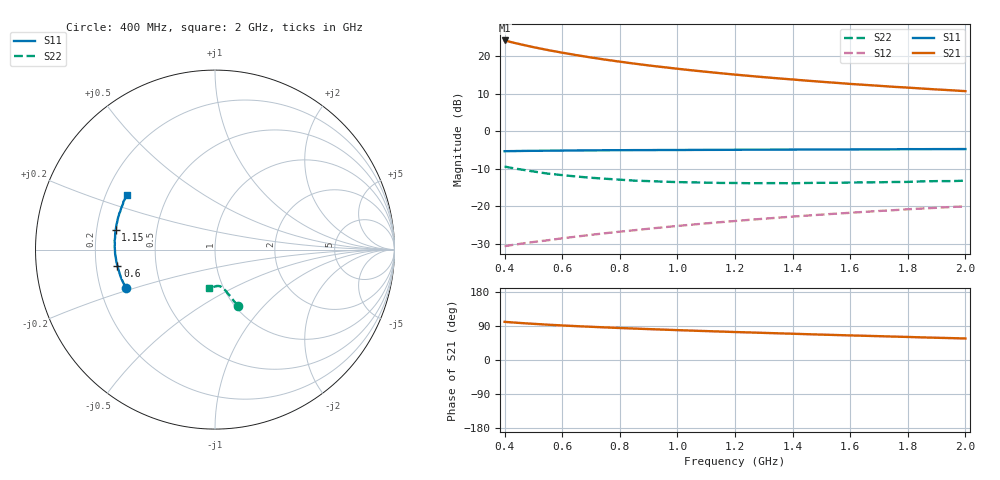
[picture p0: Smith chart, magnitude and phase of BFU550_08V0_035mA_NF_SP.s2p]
! Filename:  P:\Prog\Test\Noise\ATS_data\Testdata_Net\06 Compressed Noise after Statistics\BFU550_APG2013_43_D05_08p0V_035mA_NF_CM01_D.sf
! Date/Time: Fri 26/Apr/2013 13:07:24
! BFU550_APG2013_43_D05_08p0V_1to35mA_NF_CM01_Bias8_R.sf
! Noise Parameter Data File
! BFU550_APG2013_43_D05_08p0V_1to35mA_NF_CM01
! Date/time: Thu Apr 25 17:34:01 2013
! VAR V_out= 8.000000
! VAR I_out= 35.000000
! VAR V_in= 0.794900
! VAR I_in= 0.368450
! Device data file deembeded for feedlines and parallel
! Original file: \06 Compressed Noise after Statistics\BFU550_APG2013_43_D05_08p0V_035mA_NF_CM01_R.sf
! Feed-files: PR047V01_250413_Feed1.s2p, PR047V01_250413_Feed2.s2p
! Parallel-file: PR047V01_250413_Par.s2p
# MHz S MA R 50
!  Freq-MHz  S11-mag  S11-arg  S21-mag  S21-arg  S12-mag  S12-arg  S22-mag  S22-arg
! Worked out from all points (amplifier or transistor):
!   37 points, 400 MHz to 2 GHz, reference 50 ohm
!   highest |S21| = 24.1 dB at 400 MHz (marker M1)
!   |S21| within 3 dB of that: start of sweep to 582.3 MHz
!   unconditionally stable (mu >= 1): 1.068 GHz to end of sweep
!   at 500 MHz: K = 0.81, MSG = 25.9 dB, |S12| = -29.5 dB
!   at 1.1 GHz: K = 1.00, MAG = 19.8 dB, |S12| = -24.5 dB
!   at 2 GHz: K = 1.06, MAG = 13.9 dB, |S12| = -20.0 dB
!   lowest NFmin = 1.28 dB at 440 MHz
!   S11 on the Smith chart (normalised r, x): 400 MHz: 0.31, -0.19; 600 MHz: 0.29, -0.07; 1.15 GHz: 0.28, +0.09; 2 GHz: 0.29, +0.26
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400  0.5405 -156.8  16.08 100.7  0.02949 55.1  0.3375 -67.5
420  0.542 -158.6  15.39 99.6  0.03032 55.4  0.3266 -68.4
440  0.5435 -160.2  14.74 98.5  0.03111 55.7  0.3162 -69.0
460  0.545 -161.8  14.15 97.4  0.03193 56.0  0.3077 -69.7
500  0.5472 -164.7  13.11 95.5  0.03349 56.6  0.2908 -70.9
550  0.5492 -168.0  11.99 93.2  0.03533 57.7  0.2721 -71.8
600  0.5512 -170.7  11.07 91.2  0.03753 58.4  0.2599 -73.2
650  0.5537 -173.3  10.25 89.3  0.03958 59.0  0.249 -74.3
700  0.5545 -175.4  9.547 87.7  0.04172 59.6  0.2397 -75.0
750  0.557 -177.7  8.935 86.0  0.04386 60.1  0.2326 -76.1
800  0.5575 -179.7  8.398 84.4  0.04595 60.6  0.2261 -77.2
850  0.5589 178.5  7.916 83.0  0.04806 61.1  0.2196 -77.9
900  0.559 176.5  7.484 81.5  0.05029 61.5  0.2164 -78.9
950  0.5614 175.0  7.111 80.2  0.05252 61.8  0.2127 -79.8
1050  0.5625 171.5  6.444 77.5  0.05699 62.2  0.2084 -81.5
1150  0.5638 168.7  5.893 75.1  0.0615 62.4  0.2046 -83.2
1200  0.565 167.1  5.651 73.8  0.06371 62.4  0.2044 -84.2
1350  0.567 163.2  5.037 70.4  0.07061 62.5  0.2035 -86.8
1500  0.5704 159.3  4.539 67.0  0.0775 62.3  0.2054 -89.6
1600  0.5708 156.7  4.248 64.8  0.08193 62.0  0.2074 -91.3
1750  0.5732 153.2  3.89 61.8  0.08879 61.5  0.2105 -94.3
2000  0.5775 148.0  3.403 56.7  0.09984 60.5  0.2191 -98.9
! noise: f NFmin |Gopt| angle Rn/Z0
400  1.348  0.3712  -174.8  0.079
460  1.31  0.3944  -169.3  0.0736
600  1.314  0.3913  -169.5  0.0744
800  1.369  0.4064  -165.9  0.0741
1000  1.392  0.4176  -161.7  0.0759
1200  1.444  0.428  -158.2  0.079
1400  1.454  0.4333  -155.5  0.086
1600  1.5  0.4375  -150.5  0.0975
1800  1.507  0.4633  -149.4  0.0917
2000  1.585  0.4653  -144.6  0.1097
